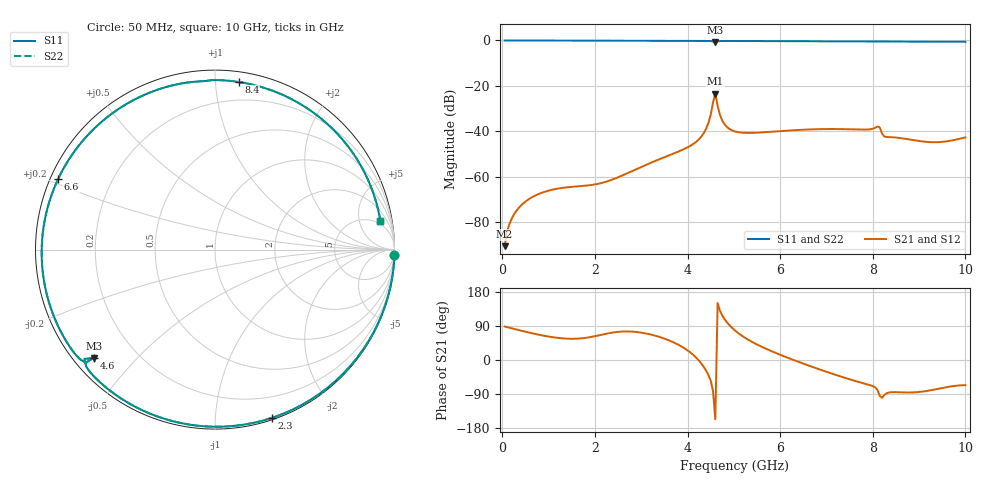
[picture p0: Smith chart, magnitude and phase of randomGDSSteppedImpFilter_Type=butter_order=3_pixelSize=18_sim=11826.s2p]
! freq	dB(S11)	phase(S11)	dB(S12)	phase(S12)
!  dB(S21)	phase(S21)	dB(S22)	phase(S22)
!S-par simulation data
#  GHz  S  DB  R 50
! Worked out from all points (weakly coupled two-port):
!   200 points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, 50 MHz to 10 GHz, reference 50 ohm
!   highest |S21| = -23.38 dB at 4.6 GHz (marker M1); lowest = -90.4 dB at 50 MHz (marker M2)
!   lowest |S11| = -0.9 dB at 4.6 GHz (marker M3), VSWR 20.40, Z = 2.81 - j19.1 ohm
!   |S11| at or under -10 dB: nowhere
!   |S22| runs from -0.8 to 0.0 dB; largest |S21 - S12| = 0
!   S11 on the Smith chart (normalised r, x): 50 MHz: 0, -72; 2.3 GHz: 0.02, -1.39; 4.6 GHz: 0.06, -0.38; 6.6 GHz: 0.02, +0.22; 8.4 GHz: 0.07, +1.15; 10 GHz: 4, +10
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0.05  -0.00 -1.6  -90.41 88.4  -90.41 88.4  -0.00 -1.6
0.15  -0.00 -4.8  -80.90 85.3  -80.90 85.3  -0.00 -4.8
0.4  -0.01 -12.7  -72.61 77.6  -72.61 77.6  -0.01 -12.7
0.75  -0.03 -23.8  -67.79 67.7  -67.79 67.7  -0.03 -23.8
1.75  -0.07 -54.8  -63.92 57.6  -63.92 57.6  -0.07 -54.8
2.3  -0.09 -71.4  -61.69 70.6  -61.69 70.6  -0.09 -71.4
3.4  -0.14 -104.0  -52.14 60.6  -52.14 60.6  -0.14 -104.0
4.3  -0.19 -130.9  -42.19 -9.8  -42.19 -9.8  -0.19 -130.8
4.45  -0.23 -135.8  -36.34 -39.2  -36.34 -39.2  -0.22 -135.8
4.6  -0.85 -138.2  -23.38 -156.4  -23.38 -156.4  -0.85 -138.1
4.75  -0.24 -142.9  -35.22 117.5  -35.22 117.5  -0.24 -142.9
5.05  -0.24 -152.6  -40.11 75.3  -40.11 75.3  -0.24 -152.6
5.85  -0.30 -178.3  -40.07 21.4  -40.07 21.4  -0.30 -178.3
6.6  -0.37 155.7  -39.14 -14.0  -39.14 -14.0  -0.37 155.7
6.7  -0.38 152.0  -39.06 -18.4  -39.06 -18.4  -0.38 152.0
7.5  -0.45 120.8  -39.05 -50.9  -39.05 -50.9  -0.45 120.8
8.1  -0.53 95.3  -37.82 -78.9  -37.82 -78.9  -0.53 95.2
8.25  -0.50 88.7  -42.22 -92.4  -42.22 -92.4  -0.50 88.7
8.35  -0.50 84.2  -42.46 -85.7  -42.46 -85.7  -0.50 84.2
8.4  -0.51 81.9  -42.50 -84.9  -42.50 -84.9  -0.51 81.9
9.3  -0.55 40.8  -44.73 -78.8  -44.73 -78.8  -0.55 40.8
10  -0.58 9.9  -42.60 -66.3  -42.60 -66.3  -0.58 9.9
